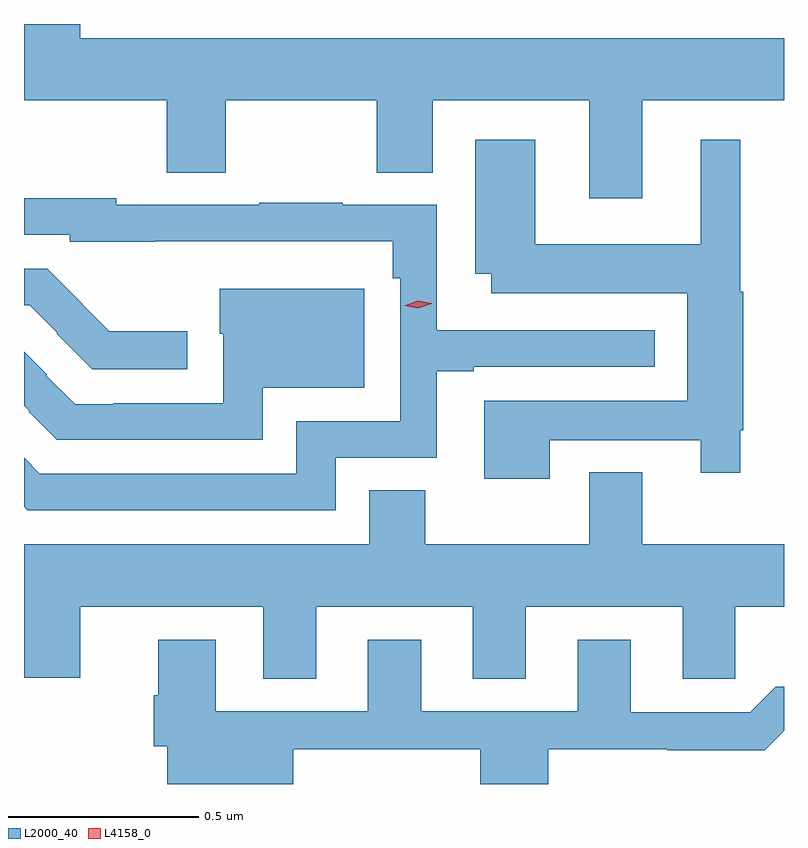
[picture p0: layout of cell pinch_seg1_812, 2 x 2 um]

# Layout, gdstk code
import gdstk
lib = gdstk.Library(unit=1e-6, precision=1e-09)
def P(c, l, *ps):  # polygons
    for p in ps: c.add(gdstk.Polygon(p, *l))
L2000_40 = (2000, 40)
L4158_0 = (4158, 0)

pinch_seg1_812 = lib.new_cell('pinch_seg1_812')
P(pinch_seg1_812, L2000_40, [(406.411,581.036),(406.784,581.036),(406.784,581.2),(404.932,581.2),(404.932,581.237),(404.784,581.237),(404.784,581.036),(405.16,581.036),(405.16,580.846),(405.315,580.846),(405.315,581.036),(405.712,581.036),(405.712,580.846),(405.859,580.846),(405.859,581.036),(406.271,581.036),(406.271,580.779),(406.411,580.779)],
  [(406.168,580.142),(406.565,580.142),(406.565,580.056),(406.669,580.056),(406.669,580.168),(406.677,580.168),(406.677,580.533),(406.669,580.533),(406.669,580.933),(406.565,580.933),(406.565,580.657),(406.129,580.657),(406.129,580.933),(405.971,580.933),(405.971,580.58),(406.013,580.58),(406.013,580.529),(406.529,580.529),(406.529,580.246),(405.995,580.246),(405.995,580.04),(406.168,580.04)],
  [(405.604,580.095),(405.87,580.095),(405.87,580.323),(405.967,580.323),(405.967,580.335),(406.444,580.335),(406.444,580.431),(405.871,580.431),(405.871,580.432),(405.87,580.432),(405.87,580.761),(405.623,580.761),(405.623,580.766),(405.403,580.766),(405.403,580.761),(405.027,580.761),(405.027,580.779),(404.784,580.779),(404.784,580.683),(404.904,580.683),(404.904,580.664),(405.127,580.664),(405.127,580.665),(405.755,580.665),(405.755,580.568),(405.774,580.568),(405.774,580.191),(405.5,580.191),(405.5,580.053),(404.826,580.053),(404.784,580.095),(404.784,579.966),(404.793,579.957),(405.604,579.957)],
  [(405.214,580.428),(405.008,580.428),(404.937,580.499),(404.938,580.5),(404.845,580.593),(404.784,580.593),(404.784,580.497),(404.799,580.497),(404.872,580.424),(404.87,580.422),(404.963,580.329),(405.214,580.329)],
  [(405.412,580.28),(405.679,580.28),(405.679,580.54),(405.299,580.54),(405.299,580.422),(405.308,580.422),(405.308,580.239),(405.019,580.239),(405.019,580.236),(404.919,580.236),(404.843,580.312),(404.845,580.314),(404.784,580.375),(404.784,580.233),(404.799,580.218),(404.797,580.216),(404.87,580.143),(405.412,580.143)],
  [(405.553,579.704),(405.965,579.704),(405.965,579.514),(406.105,579.514),(406.105,579.704),(406.517,579.704),(406.517,579.514),(406.656,579.514),(406.656,579.704),(406.784,579.704),(406.784,579.868),(406.411,579.868),(406.411,580.057),(406.271,580.057),(406.271,579.868),(405.84,579.868),(405.84,580.01),(405.692,580.01),(405.692,579.868),(404.784,579.868),(404.784,579.516),(404.932,579.516),(404.932,579.704),(405.413,579.704),(405.413,579.514),(405.553,579.514)],
  [(405.493,579.328),(405.985,579.328),(405.985,579.237),(406.163,579.237),(406.163,579.328),(406.477,579.328),(406.477,579.326),(406.733,579.326),(406.784,579.377),(406.784,579.493),(406.762,579.493),(406.695,579.426),(406.381,579.426),(406.381,579.616),(406.241,579.616),(406.241,579.429),(405.829,579.429),(405.829,579.616),(405.689,579.616),(405.689,579.429),(405.289,579.429),(405.289,579.616),(405.137,579.616),(405.137,579.47),(405.125,579.47),(405.125,579.336),(405.161,579.336),(405.161,579.237),(405.493,579.237)])
P(pinch_seg1_812, L4158_0, [(405.822,580.489),(405.785,580.496),(405.785,580.496),(405.785,580.496),(405.82,580.509),(405.857,580.502),(405.857,580.501),(405.857,580.501)])

lib.write_gds('pinch_seg1_812.gds')
